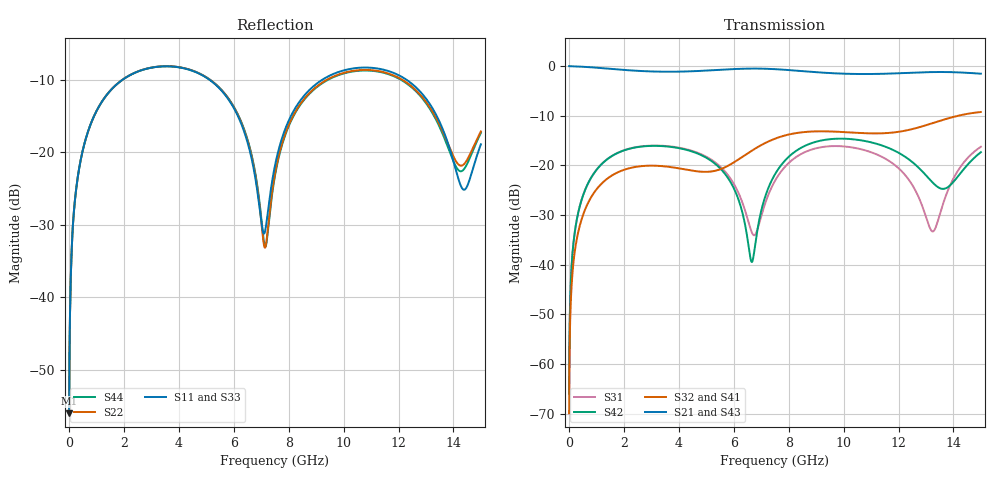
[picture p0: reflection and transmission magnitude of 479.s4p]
! Created with skrf 1.8.0 (http://scikit-rf.org).
# GHz S RI R 50.0
!freq ReS11 ImS11 ReS12 ImS12 ReS13 ImS13
! ReS14 ImS14
! ReS21 ImS21 ReS22 ImS22 ReS23 ImS23
! ReS24 ImS24
! ReS31 ImS31 ReS32 ImS32 ReS33 ImS33
! ReS34 ImS34
! ReS41 ImS41 ReS42 ImS42 ReS43 ImS43
! ReS44 ImS44
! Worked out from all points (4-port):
!   2499 points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, 5 MHz to 15 GHz, reference 50 ohm
!   strongest paths, dB at 5 MHz, 3.476 GHz, 7.19 GHz, 11.1 GHz, 15 GHz:
!     S21: 0.0, -1.1, -0.5, -1.6, -1.5
!     S43: 0.0, -1.1, -0.5, -1.6, -1.5
!     S32: -69.9, -20.2, -15.4, -13.6, -9.2
!     S41: -69.9, -20.2, -15.4, -13.5, -9.2
!     S42: -66.0, -16.1, -25.6, -15.5, -17.3
!     S31: -66.0, -16.1, -26.9, -17.5, -16.2
!   lowest |S11| = -56.0 dB at 5 MHz (marker M1), VSWR 1.00, Z = 50.1 + j0.0962 ohm
!   |S11| at or under -10 dB: start of sweep to 1.938 GHz; 5.128 GHz to 9.21 GHz (4.082 GHz wide, 56.9 % of centre); 12.3 GHz to end of sweep
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0.005  0.00126 0.00096  0.9987 -0.00246  6.24e-05 0.0005  -6.06e-05 -0.000313
       0.9987 -0.00246  0.00126 0.00096  -6.06e-05 -0.000313  6.23e-05 0.0005
       6.24e-05 0.0005  -6.06e-05 -0.000313  0.00126 0.00096  0.9987 -0.00246
       -6.06e-05 -0.000313  6.23e-05 0.0005  0.9987 -0.00246  0.00126 0.00096
0.4126719  0.0235 0.0827  0.9674 -0.2011  0.0112 0.0391  -0.00925 -0.0242
           0.9674 -0.2011  0.0236 0.0827  -0.00925 -0.0242  0.0111 0.0391
           0.0112 0.0391  -0.00925 -0.0242  0.0235 0.0827  0.9674 -0.2011
           -0.00925 -0.0242  0.0111 0.0391  0.9674 -0.2011  0.0236 0.0827
2.025844  0.2705 0.1795  0.5475 -0.7325  0.1294 0.0604  -0.0906 -0.00563
          0.5475 -0.7325  0.271 0.1792  -0.0905 -0.00573  0.128 0.0624
          0.1294 0.0604  -0.0905 -0.00573  0.2706 0.1794  0.5474 -0.7325
          -0.0906 -0.00563  0.128 0.0624  0.5474 -0.7325  0.271 0.1793
7.121717  0.0277 0.00322  -0.9394 -0.0609  -0.0125 0.0376  -0.00529 0.1667
          -0.9394 -0.0609  0.0219 -0.00328  -0.00696 0.1666  0.0227 0.0403
          -0.0125 0.0376  -0.00696 0.1666  0.0276 0.00111  -0.9393 -0.0613
          -0.00529 0.1667  0.0227 0.0403  -0.9393 -0.0613  0.0222 -0.0055
11.1609  0.3768 -0.0589  0.0466 0.8327  0.1138 -0.064  0.199 -0.0689
         0.0466 0.8327  0.3653 -0.0381  0.1995 -0.0656  0.1147 -0.1205
         0.1138 -0.064  0.1995 -0.0656  0.3744 -0.0583  0.048 0.8338
         0.199 -0.0689  0.1147 -0.1205  0.048 0.8338  0.3616 -0.0393
13.24927  0.129 -0.1529  0.7067 0.5096  -0.0209 -0.00558  0.1489 -0.2214
          0.7067 0.5096  0.1415 -0.1266  0.1524 -0.219  -0.0538 -0.0399
          -0.0209 -0.00558  0.1524 -0.219  0.1295 -0.1479  0.7092 0.5074
          0.1489 -0.2214  -0.0538 -0.0399  0.7092 0.5074  0.1355 -0.1259
15  0.0862 0.0744  0.8258 -0.1467  0.0832 0.1298  -0.0894 -0.3347
    0.8258 -0.1467  0.1168 0.0765  -0.0838 -0.3347  0.0642 0.1198
    0.0832 0.1298  -0.0838 -0.3347  0.095 0.0769  0.8247 -0.1505
    -0.0894 -0.3347  0.0642 0.1198  0.8247 -0.1505  0.11 0.0806
